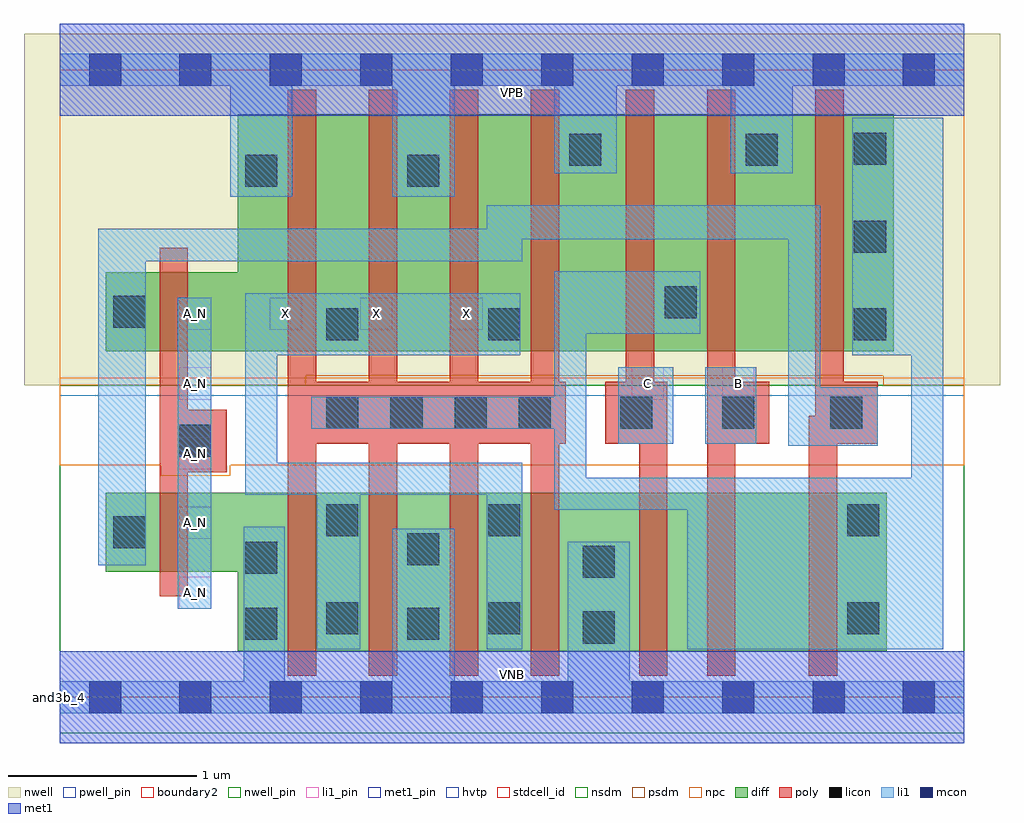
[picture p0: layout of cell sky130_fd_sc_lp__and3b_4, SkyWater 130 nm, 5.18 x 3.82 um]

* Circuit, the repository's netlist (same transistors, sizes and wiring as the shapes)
* Copyright 2020 The SkyWater PDK Authors
*
* Licensed under the Apache License, Version 2.0 (the "License");
* you may not use this file except in compliance with the License.
* You may obtain a copy of the License at
*
*     https://www.apache.org/licenses/LICENSE-2.0
*
* Unless required by applicable law or agreed to in writing, software
* distributed under the License is distributed on an "AS IS" BASIS,
* WITHOUT WARRANTIES OR CONDITIONS OF ANY KIND, either express or implied.
* See the License for the specific language governing permissions and
* limitations under the License.
*
* SPDX-License-Identifier: Apache-2.0

.SUBCKT sky130_fd_sc_lp__and3b_4 A_N B C VGND VNB VPB VPWR X
*.PININFO A_N:I B:I C:I VGND:I VNB:I VPB:I VPWR:I X:O
MMP0 y A VPWR VPB sky130_fd_pr__pfet_01v8_hvt m=1 w=1.26U l=0.15U mult=1 sa=0.265
+ sb=0.265 sd=0.28 area=0.063 perim=1.14
MMP1 y B VPWR VPB sky130_fd_pr__pfet_01v8_hvt m=1 w=1.26U l=0.15U mult=1 sa=0.265
+ sb=0.265 sd=0.28 area=0.063 perim=1.14
MMP2 y C VPWR VPB sky130_fd_pr__pfet_01v8_hvt m=1 w=1.26U l=0.15U mult=1 sa=0.265
+ sb=0.265 sd=0.28 area=0.063 perim=1.14
MMIP0 A A_N VPWR VPB sky130_fd_pr__pfet_01v8_hvt m=1 w=0.42U l=0.15U mult=1 sa=0.265
+ sb=0.265 sd=0.28 area=0.063 perim=1.14
MMIP1 X y VPWR VPB sky130_fd_pr__pfet_01v8_hvt m=4 w=1.26U l=0.15U mult=1 sa=0.265
+ sb=0.265 sd=0.28 area=0.063 perim=1.14
MMN0 y A sndA VNB sky130_fd_pr__nfet_01v8 m=1 w=0.84U l=0.15U mult=1 sa=0.265 sb=0.265
+ sd=0.28 area=0.063 perim=1.14
MMN1 sndA B sndB VNB sky130_fd_pr__nfet_01v8 m=1 w=0.84U l=0.15U mult=1 sa=0.265
+ sb=0.265 sd=0.28 area=0.063 perim=1.14
MMN2 sndB C VGND VNB sky130_fd_pr__nfet_01v8 m=1 w=0.84U l=0.15U mult=1 sa=0.265
+ sb=0.265 sd=0.28 area=0.063 perim=1.14
MMIN0 A A_N VGND VNB sky130_fd_pr__nfet_01v8 m=1 w=0.42U l=0.15U mult=1 sa=0.265
+ sb=0.265 sd=0.28 area=0.063 perim=1.14
MMIN1 X y VGND VNB sky130_fd_pr__nfet_01v8 m=4 w=0.84U l=0.15U mult=1 sa=0.265
+ sb=0.265 sd=0.28 area=0.063 perim=1.14
.ENDS sky130_fd_sc_lp__and3b_4

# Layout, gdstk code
import gdstk
lib = gdstk.Library(unit=1e-6, precision=1e-09)
def R(c, l, rs):  # rectangles x0, y0, x1, y1
    for r in rs: c.add(gdstk.rectangle(r[:2], r[2:], *l))
def A(c, l, x, y, w, h, nx, ny, dx, dy):  # array of equal rectangles
    R(c, l, [(x+i*dx, y+j*dy, x+i*dx+w, y+j*dy+h) for i in range(nx) for j in range(ny)])
def P(c, l, *ps):  # polygons
    for p in ps: c.add(gdstk.Polygon(p, *l))
nwell_pin = (64, 16)
nwell = (64, 20)
diff = (65, 20)
poly = (66, 20)
licon = (66, 44)
li1_pin = (67, 16)
li1 = (67, 20)
mcon = (67, 44)
met1_pin = (68, 16)
met1 = (68, 20)
hvtp = (78, 44)
stdcell_id = (81, 4)
nsdm = (93, 44)
psdm = (94, 20)
npc = (95, 20)
pwell_pin = (122, 16)
boundary2 = (236, 0)

sky130_fd_sc_lp__and3b_4 = lib.new_cell('sky130_fd_sc_lp__and3b_4')
R(sky130_fd_sc_lp__and3b_4, nwell_pin, [(0,3.085,4.8,3.33)])
R(sky130_fd_sc_lp__and3b_4, nwell, [(-0.19,1.655,4.99,3.52)])
P(sky130_fd_sc_lp__and3b_4, diff, [(4.39,1.085),(0.245,1.085),(0.245,0.665),(0.945,0.665),(0.945,0.245),(4.39,0.245)],
  [(4.425,3.095),(0.945,3.095),(0.945,2.255),(0.245,2.255),(0.245,1.835),(4.425,1.835)])
P(sky130_fd_sc_lp__and3b_4, poly, [(0.885,1.525),(0.68,1.525),(0.68,2.385),(0.53,2.385),(0.53,0.535),(0.68,0.535),(0.68,1.195),(0.885,1.195)],
  [(2.685,1.675),(2.65,1.675),(2.65,3.225),(2.5,3.225),(2.5,1.675),(2.22,1.675),(2.22,3.225),(2.07,3.225),(2.07,1.675),(1.79,1.675),(1.79,3.225),(1.64,3.225),(1.64,1.675),(1.36,1.675),(1.36,3.225),(1.21,3.225),(1.21,0.115),(1.36,0.115),(1.36,1.345),(1.64,1.345),(1.64,0.115),(1.79,0.115),(1.79,1.345),(2.07,1.345),(2.07,0.115),(2.22,0.115),(2.22,1.345),(2.5,1.345),(2.5,0.115),(2.65,0.115),(2.65,1.345),(2.685,1.345)],
  [(3.225,1.675),(3.155,1.675),(3.155,3.225),(3.005,3.225),(3.005,1.675),(2.895,1.675),(2.895,1.345),(3.075,1.345),(3.075,0.115),(3.225,0.115)],
  [(3.765,1.675),(3.585,1.675),(3.585,3.225),(3.435,3.225),(3.435,0.115),(3.585,0.115),(3.585,1.345),(3.765,1.345)],
  [(4.34,1.675),(4.16,1.675),(4.16,3.225),(4.01,3.225),(4.01,1.495),(3.975,1.495),(3.975,0.115),(4.125,0.115),(4.125,1.345),(4.34,1.345)])
A(sky130_fd_sc_lp__and3b_4, licon, 1.415, 1.425, 0.17, 0.17, 4, 1, 0.34, 0)
A(sky130_fd_sc_lp__and3b_4, licon, 4.215, 1.895, 0.17, 0.17, 1, 3, 0, 0.465)
R(sky130_fd_sc_lp__and3b_4, licon, [(2.775,0.285,2.945,0.455), (0.985,0.305,1.155,0.475), (1.845,0.305,2.015,0.475), (1.415,0.335,1.585,0.505), (2.275,0.335,2.445,0.505), (4.18,0.335,4.35,0.505), (2.775,0.635,2.945,0.805), (0.985,0.655,1.155,0.825), (1.845,0.7,2.015,0.87), (0.285,0.79,0.455,0.96), (1.415,0.855,1.585,1.025), (2.275,0.855,2.445,1.025), (4.18,0.855,4.35,1.025), (0.635,1.275,0.805,1.445), (2.975,1.425,3.145,1.595), (3.515,1.425,3.685,1.595), (4.09,1.425,4.26,1.595), (1.415,1.895,1.585,2.065), (2.275,1.895,2.445,2.065), (0.285,1.96,0.455,2.13), (3.21,2.01,3.38,2.18), (0.985,2.71,1.155,2.88), (1.845,2.71,2.015,2.88), (2.705,2.82,2.875,2.99), (3.64,2.82,3.81,2.99)])
A(sky130_fd_sc_lp__and3b_4, li1_pin, 0.635, 0.47, 0.17, 0.17, 1, 4, 0, 0.37)
A(sky130_fd_sc_lp__and3b_4, li1_pin, 0.635, 1.95, 0.17, 0.17, 4, 1, 0.48, 0)
R(sky130_fd_sc_lp__and3b_4, li1_pin, [(3.035,1.58,3.205,1.75), (3.515,1.58,3.685,1.75)])
R(sky130_fd_sc_lp__and3b_4, li1, [(0.625,0.47,0.805,2.12), (2.965,1.345,3.255,1.75), (3.425,1.345,3.695,1.75)])
P(sky130_fd_sc_lp__and3b_4, li1, [(2.455,1.245),(1.155,1.245),(1.155,1.815),(2.445,1.815),(2.445,2.145),(0.985,2.145),(0.985,1.075),(1.365,1.075),(1.365,0.255),(1.595,0.255),(1.595,1.075),(2.265,1.075),(2.265,0.255),(2.455,0.255)],
  [(4.69,3.075),(4.205,3.075),(4.205,1.815),(4.52,1.815),(4.52,1.165),(2.795,1.165),(2.795,1.93),(3.4,1.93),(3.4,2.26),(2.625,2.26),(2.625,1.595),(1.335,1.595),(1.335,1.425),(2.625,1.425),(2.625,0.995),(3.33,0.995),(3.33,0.255),(4.69,0.255)],
  [(4.34,1.645),(4.035,1.645),(4.035,2.61),(2.265,2.61),(2.265,2.485),(0.205,2.485),(0.205,0.7),(0.455,0.7),(0.455,2.315),(2.455,2.315),(2.455,2.43),(3.865,2.43),(3.865,1.335),(4.34,1.335)],
  [(4.8,0.085),(3.025,0.085),(3.025,0.825),(2.695,0.825),(2.695,0.085),(2.095,0.085),(2.095,0.895),(1.765,0.895),(1.765,0.085),(1.195,0.085),(1.195,0.905),(0.975,0.905),(0.975,0.085),(0,0.085),(0,-0.085),(4.8,-0.085)],
  [(4.8,3.415),(0,3.415),(0,3.245),(0.905,3.245),(0.905,2.655),(1.235,2.655),(1.235,3.245),(1.765,3.245),(1.765,2.655),(2.095,2.655),(2.095,3.245),(2.625,3.245),(2.625,2.78),(2.955,2.78),(2.955,3.245),(3.56,3.245),(3.56,2.78),(3.89,2.78),(3.89,3.245),(4.8,3.245)])
A(sky130_fd_sc_lp__and3b_4, mcon, 0.155, -0.085, 0.17, 0.17, 10, 2, 0.48, 3.33)
R(sky130_fd_sc_lp__and3b_4, met1_pin, [(0,0,4.8,0.245), (0,3.085,4.8,3.33)])
R(sky130_fd_sc_lp__and3b_4, met1, [(0,-0.245,4.8,0.245), (0,3.085,4.8,3.575)])
R(sky130_fd_sc_lp__and3b_4, hvtp, [(0,1.6,4.8,3.33)])
R(sky130_fd_sc_lp__and3b_4, stdcell_id, [(0,0,4.8,3.33)])
R(sky130_fd_sc_lp__and3b_4, nsdm, [(0,-0.19,4.8,1.655)])
P(sky130_fd_sc_lp__and3b_4, psdm, [(4.8,3.52),(0,3.52),(0,1.655),(1.305,1.655),(1.305,1.705),(4.37,1.705),(4.37,1.655),(4.8,1.655)])
P(sky130_fd_sc_lp__and3b_4, npc, [(4.8,1.695),(0,1.695),(0,1.23),(0.535,1.23),(0.535,1.175),(0.905,1.175),(0.905,1.23),(4.8,1.23)])
R(sky130_fd_sc_lp__and3b_4, pwell_pin, [(0,0,4.8,0.245)])
R(sky130_fd_sc_lp__and3b_4, boundary2, [(0,0,4.8,3.33)])
sky130_fd_sc_lp__and3b_4.add(gdstk.Label('VNB', (2.4,0.123), layer=64, texttype=59))
sky130_fd_sc_lp__and3b_4.add(gdstk.Label('VPB', (2.4,3.208), layer=64, texttype=5))
sky130_fd_sc_lp__and3b_4.add(gdstk.Label('and3b_4', (0,0), layer=83, texttype=44))
sky130_fd_sc_lp__and3b_4.add(gdstk.Label('VPWR', (2.4,3.208), layer=68, texttype=5))
sky130_fd_sc_lp__and3b_4.add(gdstk.Label('VGND', (2.4,0.123), layer=68, texttype=5))
sky130_fd_sc_lp__and3b_4.add(gdstk.Label('B', (3.6,1.665), layer=67, texttype=5))
sky130_fd_sc_lp__and3b_4.add(gdstk.Label('C', (3.12,1.665), layer=67, texttype=5))
sky130_fd_sc_lp__and3b_4.add(gdstk.Label('A_N', (0.72,0.555), layer=67, texttype=5))
sky130_fd_sc_lp__and3b_4.add(gdstk.Label('A_N', (0.72,0.925), layer=67, texttype=5))
sky130_fd_sc_lp__and3b_4.add(gdstk.Label('A_N', (0.72,1.295), layer=67, texttype=5))
sky130_fd_sc_lp__and3b_4.add(gdstk.Label('A_N', (0.72,1.665), layer=67, texttype=5))
sky130_fd_sc_lp__and3b_4.add(gdstk.Label('A_N', (0.72,2.035), layer=67, texttype=5))
sky130_fd_sc_lp__and3b_4.add(gdstk.Label('X', (1.2,2.035), layer=67, texttype=5))
sky130_fd_sc_lp__and3b_4.add(gdstk.Label('X', (1.68,2.035), layer=67, texttype=5))
sky130_fd_sc_lp__and3b_4.add(gdstk.Label('X', (2.16,2.035), layer=67, texttype=5))

lib.write_gds('sky130_fd_sc_lp__and3b_4.gds')
